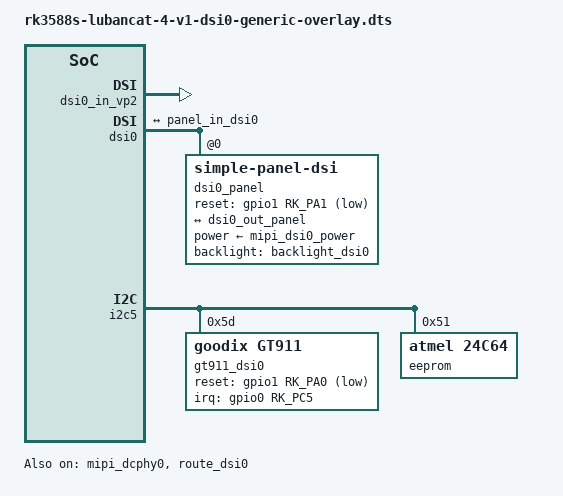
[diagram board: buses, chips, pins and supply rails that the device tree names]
/dts-v1/;
/plugin/;

#include <dt-bindings/gpio/gpio.h>
#include <dt-bindings/pinctrl/rockchip.h>
#include <dt-bindings/display/drm_mipi_dsi.h>
#include <dt-bindings/interrupt-controller/irq.h>

/ {
	fragment@0 {
		target = <&mipi_dcphy0>;

		__overlay__ {
			status = "okay";
		};
	};

	fragment@1 {
		target = <&route_dsi0>;

		__overlay__ {
			status = "okay";
			connect = <&vp2_out_dsi0>;
		};
	};

	fragment@2 {
		target = <&dsi0_in_vp2>;

		__overlay__ {
			status = "okay";
		};
	};


	fragment@3 {
		target = <&dsi0>;

		__overlay__ {
			status = "okay";
			#address-cells = <1>;
			#size-cells = <0>;

			dsi0_panel: panel@0 {
				status = "okay";
				compatible = "simple-panel-dsi";
				reg = <0>;
				backlight = <&backlight_dsi0>;
				power-supply = <&mipi_dsi0_power>;
				reset-gpios = <&gpio1 RK_PA1 GPIO_ACTIVE_LOW>;

				enable-delay-ms = <35>;
				prepare-delay-ms = <6>;
				reset-delay-ms = <20>;
				init-delay-ms = <50>;
				unprepare-delay-ms = <0>;
				disable-delay-ms = <20>;

				size,width = <74>;
				size,height = <133>;

				dsi,flags = <(MIPI_DSI_MODE_VIDEO | MIPI_DSI_MODE_VIDEO_BURST | MIPI_DSI_MODE_LPM | MIPI_DSI_MODE_NO_EOT_PACKET)>;
				dsi,format = <MIPI_DSI_FMT_RGB888>;
				dsi,lanes  = <4>;

				nvmem = <&eeprom0>;
				nvmem-names = "eeprom";

				ports {
					#address-cells = <1>;
					#size-cells = <0>;
					port@0 {
						reg = <0>;
						panel_in_dsi0: endpoint {
							remote-endpoint = <&dsi0_out_panel>;
						};
					};
				};
			};

			ports {
				#address-cells = <1>;
				#size-cells = <0>;

				port@1 {
					reg = <1>;
					dsi0_out_panel: endpoint {
						remote-endpoint = <&panel_in_dsi0>;
					};
				};
			};
		};
	};

	fragment@4 {
		target = <&i2c5>;

		__overlay__ {
			status = "okay";
			#address-cells = <1>;
			#size-cells = <0>;
			pinctrl-names = "default";
			pinctrl-0 = <&i2c5m3_xfer>;

			gt911_dsi0: gt911@5d {
				status = "okay";
				compatible = "goodix,gt911";
				reg = <0x5d>;
				interrupt-parent = <&gpio0>;
				interrupts = <RK_PC5 IRQ_TYPE_LEVEL_LOW>;
				reset-gpios = <&gpio1 RK_PA0 GPIO_ACTIVE_LOW>;
				irq-gpios = <&gpio0 RK_PC5 GPIO_ACTIVE_HIGH>;

				nvmem = <&eeprom0>;
				nvmem-names = "eeprom";
			};

			eeprom0: eeprom@51 {
				compatible = "atmel,24c64";
				reg = <0x51>;
				label = "eeprom";
			};
		};
	};
};

